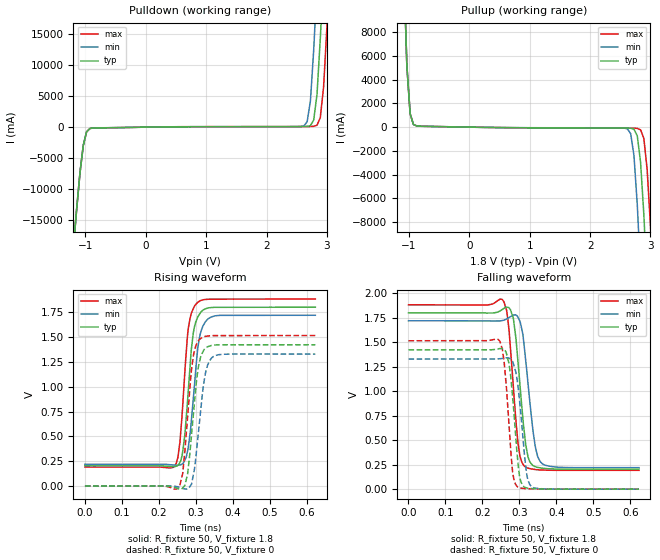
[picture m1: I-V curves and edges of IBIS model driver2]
| IBIS file inv_chain_fast_5ps_tr5ps.ibs created by PYS2IBIS3
| Missouri S&T EMC Lab
[IBIS Ver] 7.1
[File Name] inv_chain_fast_5ps_tr5ps.ibs
[File Rev] 1.0
[Date] Jul 27, 2026
[Source] Eight-stage inv_chain transistor model characterized with s2ibispy
[Notes] Parameter selection; sim_time=6.231e-10, tr=tf=5.000e-12.
[Component] invchain
[Manufacturer] s2ibispy study
[Package]
| variable   typ   min   max
R_pkg 0 NA NA
L_pkg 0H NA NA
C_pkg 0F NA NA
[Pin]  signal_name   model_name   R_pin   L_pin   C_pin
VSSQ   VSSQ   Gnd
VCCQ   VCCQ   Power
| IN IN dummy
PAD   PAD   driver2
| End of Component
| Models and submodels in the file (1): driver2 (Output)
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[Model] driver2
Model_type Output
Polarity Non-Inverting
Enable Active-High
Vinl  = 0.8V
Vinh  = 2V
C_comp 0.4680pF NA NA
[Temperature Range] 27.0000 27.0000 27.0000
[Voltage Range] 1.8000V 1.7000V 1.9000V
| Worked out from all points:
|   slope of the pulldown table from 0 to 0.27 V, typ, clamps not added: 6.79 ohm
|   slope of the pullup table from 0 to 0.27 V, typ, clamps not added: 12.6 ohm
|   rising waveform, R_fixture 50, V_fixture 1.8: 20-80 % time 20.6ps typ, 22.1ps min, 19.1ps max; typ from 0.204 V to 1.8 V
|   rising waveform, R_fixture 50, V_fixture 0: 20-80 % time 21.6ps typ, 23.2ps min, 20.4ps max; typ from 0 V to 1.42 V
|   falling waveform, R_fixture 50, V_fixture 1.8: 20-80 % time 22.9ps typ, 25.3ps min, 21ps max; typ from 1.8 V to 0.204 V
|   falling waveform, R_fixture 50, V_fixture 0: 20-80 % time 18.5ps typ, 20.1ps min, 17.6ps max; typ from 1.42 V to 0 V
[Pulldown]
| Voltage   I(typ)   I(min)   I(max)
-1.8V     -87.88A    -87.88A    -87.88A
-1.2V     -19.4A     -19.4A     -19.4A
-1.036V   -2.952A    -2.948A    -2.955A
-927.3mV  -221.8mA   -216.4mA   -227mA
2.618V    95.77mA    193.1mA    97.15mA
2.727V    244.8mA    4.224A     106.4mA
2.782V    1.151A     12.49A     132.5mA
2.836V    5.27A      23.04A     313.7mA
2.891V    14.25A     33.59A     1.533A
2.946V    24.81A     44.15A     6.464A
3V        35.36A     54.71A     16.02A
3.6V      151.5A     170.8A     132.1A
[Pullup]
| Voltage   I(typ)   I(min)   I(max)
-1.8V     151.4A     151.4A     151.4A
-1.091V   14.2A      14.19A     14.2A
-981.8mV  1.13A      1.129A     1.132A
-872.7mV  99.18mA    97.54mA    100.6mA
2.618V    -78.19mA   -142.5mA   -79.21mA
2.727V    -177.2mA   -2.408A    -86.52mA
2.782V    -728.3mA   -6.523A    -104.6mA
2.836V    -2.952A    -12.18A    -222.3mA
2.891V    -7.391A    -18.4A     -950.7mA
2.946V    -13.22A    -24.62A    -3.561A
3V        -19.44A    -30.85A    -8.297A
3.6V      -87.92A    -99.33A    -76.52A
[Ramp]
| variable   typ   min   max
dV/dt_r 0.8532/0.02162n 0.7968/0.02331n 0.9090/0.02042n
dV/dt_f 0.9575/0.023n 0.8972/0.02469n 1.0171/0.02145n
R_load = 50
[Rising Waveform]
R_fixture = 50
V_fixture = 1.8
|time   V(typ)   V(min)   V(max)
0s        204.2mV    219.5mV    192.2mV
242.6ps   195.9mV    210.7mV    200.3mV
257ps     240.1mV    212.3mV    444.4mV
269.5ps   488.3mV    256.8mV    1.101V
278.8ps   923.9mV    373.4mV    1.568V
291.9ps   1.517V     820.4mV    1.78V
305.6ps   1.705V     1.404V     1.85V
318.7ps   1.769V     1.607V     1.874V
348.7ps   1.799V     1.711V     1.882V
623.1ps   1.8V       1.719V     1.882V
[Rising Waveform]
R_fixture = 50
V_fixture = 0
|time   V(typ)   V(min)   V(max)
0s        13.08nV    12.76nV    13.48nV
251.4ps   -25.69mV   -7.091mV   -21.62mV
264.5ps   -19.57mV   -22.57mV   129.6mV
277.6ps   120.4mV    -27.8mV    700.2mV
288.2ps   509.9mV    18.65mV    1.171V
303.1ps   1.108V     400.1mV    1.437V
316.2ps   1.329V     884.3mV    1.493V
331.8ps   1.402V     1.219V     1.51V
354.3ps   1.42V      1.315V     1.515V
623.1ps   1.422V     1.328V     1.515V
[Falling Waveform]
R_fixture = 50
V_fixture = 1.8
|time   V(typ)   V(min)   V(max)
0s        1.8V       1.719V     1.882V
256.4ps   1.842V     1.724V     1.923V
271.3ps   1.854V     1.751V     1.646V
283.8ps   1.738V     1.777V     1.029V
296.9ps   1.27V      1.748V     447.7mV
313.7ps   560.6mV    1.433V     233.4mV
322.5ps   338.5mV    1.106V     216.1mV
337.4ps   239.2mV    575.4mV    203.4mV
356.8ps   217mV      277.5mV    196.2mV
623.1ps   204.2mV    219.5mV    192.2mV
[Falling Waveform]
R_fixture = 50
V_fixture = 0
|time   V(typ)   V(min)   V(max)
0s        1.422V     1.328V     1.515V
247ps     1.435V     1.332V     1.511V
258.9ps   1.425V     1.337V     1.291V
272ps     1.279V     1.337V     649.4mV
281.9ps   937mV      1.3V       167.6mV
294.4ps   322.5mV    1.104V     23.99mV
302.5ps   95.05mV    827.9mV    11.61mV
318.7ps   12.44mV    179.3mV    5.05mV
333.7ps   5.673mV    22.19mV    2.413mV
623.1ps   100.5nV    -10.62nV   99.73nV
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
